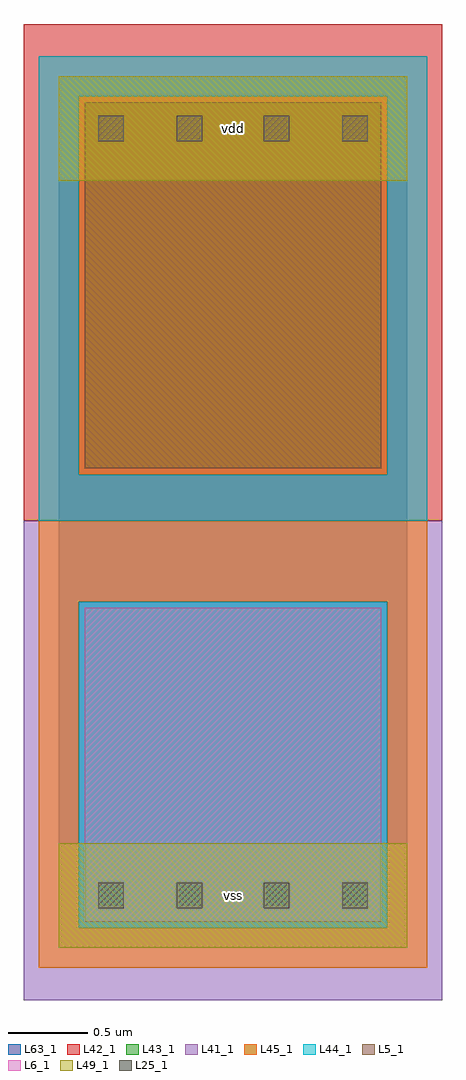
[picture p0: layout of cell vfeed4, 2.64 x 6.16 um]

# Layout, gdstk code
import gdstk
lib = gdstk.Library(unit=1e-6, precision=1e-09)
def R(c, l, rs):  # rectangles x0, y0, x1, y1
    for r in rs: c.add(gdstk.rectangle(r[:2], r[2:], *l))
L5_1 = (5, 1)
L6_1 = (6, 1)
L25_1 = (25, 1)
L41_1 = (41, 1)
L42_1 = (42, 1)
L43_1 = (43, 1)
L44_1 = (44, 1)
L45_1 = (45, 1)
L49_1 = (49, 1)
L63_1 = (63, 1)

vfeed4 = lib.new_cell('vfeed4')
R(vfeed4, L5_1, [(0.165,3.025,2.035,5.335)])
R(vfeed4, L6_1, [(0.165,0.165,2.035,2.145)])
R(vfeed4, L25_1, [(0.25,0.25,0.41,0.41), (0.745,0.25,0.905,0.41), (1.295,0.25,1.455,0.41), (1.79,0.25,1.95,0.41), (0.25,5.09,0.41,5.25), (0.745,5.09,0.905,5.25), (1.295,5.09,1.455,5.25), (1.79,5.09,1.95,5.25)])
R(vfeed4, L41_1, [(-0.22,-0.33,2.42,2.695)])
R(vfeed4, L42_1, [(-0.22,2.695,2.42,5.83)])
R(vfeed4, L43_1, [(0.165,0.165,2.035,2.145), (0.165,3.025,2.035,5.335)])
R(vfeed4, L44_1, [(0.125,0.125,2.075,2.185), (-0.125,2.695,2.325,2.985), (-0.125,2.985,0.125,5.375), (2.075,2.985,2.325,5.375), (-0.125,5.375,2.325,5.625)])
R(vfeed4, L45_1, [(-0.125,-0.125,2.325,0.125), (-0.125,0.125,0.125,2.185), (2.075,0.125,2.325,2.185), (-0.125,2.185,2.325,2.695), (0.125,2.985,2.075,5.375)])
R(vfeed4, L49_1, [(0,0,2.2,0.66), (0,4.84,2.2,5.5)])
R(vfeed4, L63_1, [(0,0,2.2,5.5)])
vfeed4.add(gdstk.Label('vss', (1.1,0.33), layer=49, texttype=1))
vfeed4.add(gdstk.Label('vss', (1.1,0.33), layer=49, texttype=1))
vfeed4.add(gdstk.Label('vdd', (1.1,5.17), layer=49, texttype=1))
vfeed4.add(gdstk.Label('vdd', (1.1,5.17), layer=49, texttype=1))

lib.write_gds('vfeed4.gds')
